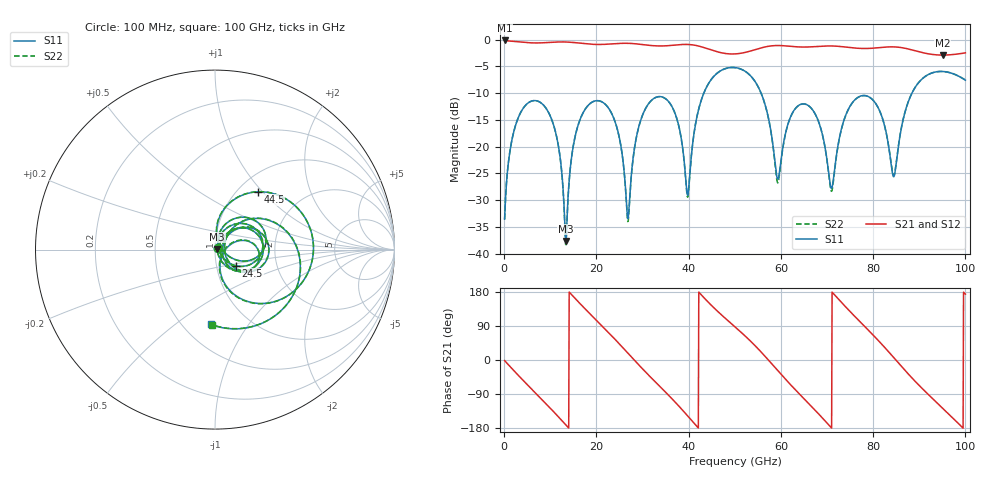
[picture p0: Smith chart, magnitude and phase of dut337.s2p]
! Touchstone file exported from HFSS 2026.1.0
!  File:  C:/ffzhzh/LocalFiles/Ansys_Project_Files/temp_train_TSV_RDL_337_1783705984_45496.aedt
!  Generated:  02:00:57 AM Jul 11, 2026
!  Design:  TSV_RDL
!  Project:  temp_train_TSV_RDL_337_1783705984_45496
! Variables:
!  h_bsmrdl = 3.68um
!  h_ox = 20um
!  h_rdl = 5um
!  h_sub = 82.39um
!  h_tmrdl = 2.39um
!  h_tsv = 82.39um
!  h_via = 3um
!  l_bsmrdl = 318.07um
!  l_sub = 4264.68um
!  l_tmrdl = 684.05um
!  m_sub = 200um
!  pitch = 41.06um
!  r_tsv = 8.96um
!  s_tmrdl = 10um
!  w_bsmrdl = 28.89um
!  w_sub = 500um
!  w_tmrdl = 29.2um
!  x_tsv_center1 = 698.65um
!  x_tsv_center2 = 1045.61um
!  x_tsv_center3 = 1758.86um
!  x_tsv_center4 = 2105.82um
!  x_tsv_center5 = 2819.07um
!  x_tsv_center6 = 3166.03um
# GHz S MA R 50.000000
! Terminal data exported
! Port[1] = TM_RDL1_1_T1
! Port[2] = TM_RDL5_1_T1
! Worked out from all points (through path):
!   1000 points, 100 MHz to 100 GHz, reference 50 ohm
!   highest |S21| = -0.17 dB at 100 MHz (marker M1); lowest = -2.9 dB at 95.1 GHz (marker M2)
!   group delay of S21, straight-line fit = 35.2 ps
!   lowest |S11| = -37.6 dB at 13.4 GHz (marker M3), VSWR 1.03, Z = 51.3 + j0.297 ohm
!   |S11| at or under -10 dB: start of sweep to 43.29 GHz; 55.71 GHz to 88.41 GHz (32.71 GHz wide, 45.4 % of centre)
!   |S22| runs from -38.6 to -5.2 dB; largest |S21 - S12| = 1.1e-13
!   S11 on the Smith chart (normalised r, x): 100 MHz: 1.04, +0.02; 24.5 GHz: 1.24, -0.23; 44.5 GHz: 1.23, +0.94; 100 GHz: 0.68, -0.68
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0.1  0.02104 24.1  0.981 -1.5  0.981 -1.5  0.02104 24.1
! Gamma 0 0 0 0
! Port Impedance 50 0 50 0
2.5  0.1595 46.3  0.9573 -33.2  0.9573 -33.2  0.1595 46.2
7  0.2683 -3.8  0.9298 -89.5  0.9298 -89.5  0.2683 -4.0
11.1  0.1391 -50.8  0.9472 -141.3  0.9472 -141.3  0.139 -51.4
13.4  0.0132 12.7  0.9489 -171.5  0.9489 -171.5  0.01177 13.8
16.8  0.1944 48.2  0.9215 144.4  0.9215 144.4  0.1944 48.5
24.5  0.1476 -37.5  0.918 48.7  0.918 48.7  0.1478 -37.9
26.9  0.02165 25.9  0.9224 17.1  0.9224 17.1  0.02021 25.7
29.3  0.1598 66.4  0.9054 -14.4  0.9054 -14.4  0.1592 66.8
33.4  0.2929 22.2  0.8719 -65.4  0.8719 -65.4  0.2925 22.2
39.8  0.03518 32.0  0.9002 -147.8  0.9002 -147.8  0.03375 32.7
44.5  0.4005 53.5  0.8101 149.5  0.8101 149.5  0.4005 53.7
50.1  0.5469 -3.7  0.7348 86.9  0.7348 86.9  0.5469 -3.7
58.1  0.1178 -75.8  0.8749 -11.3  0.8749 -11.3  0.1162 -77.5
59.4  0.05003 -20.5  0.8798 -29.2  0.8798 -29.2  0.04629 -19.7
66.7  0.2255 -30.8  0.8556 -123.3  0.8556 -123.3  0.2255 -30.7
71  0.04081 1.4  0.8715 -179.6  0.8715 -179.6  0.03828 1.6
76.3  0.2804 16.5  0.8313 111.6  0.8313 111.6  0.2799 17.4
83.4  0.09816 -41.6  0.854 21.1  0.854 21.1  0.09872 -40.3
89.2  0.3627 24.6  0.7843 -57.4  0.7843 -57.4  0.363 25.0
95.1  0.5032 -38.0  0.7164 -127.4  0.7164 -127.4  0.5037 -37.4
100  0.4179 -93.2  0.7516 173.9  0.7516 173.9  0.4184 -92.4
